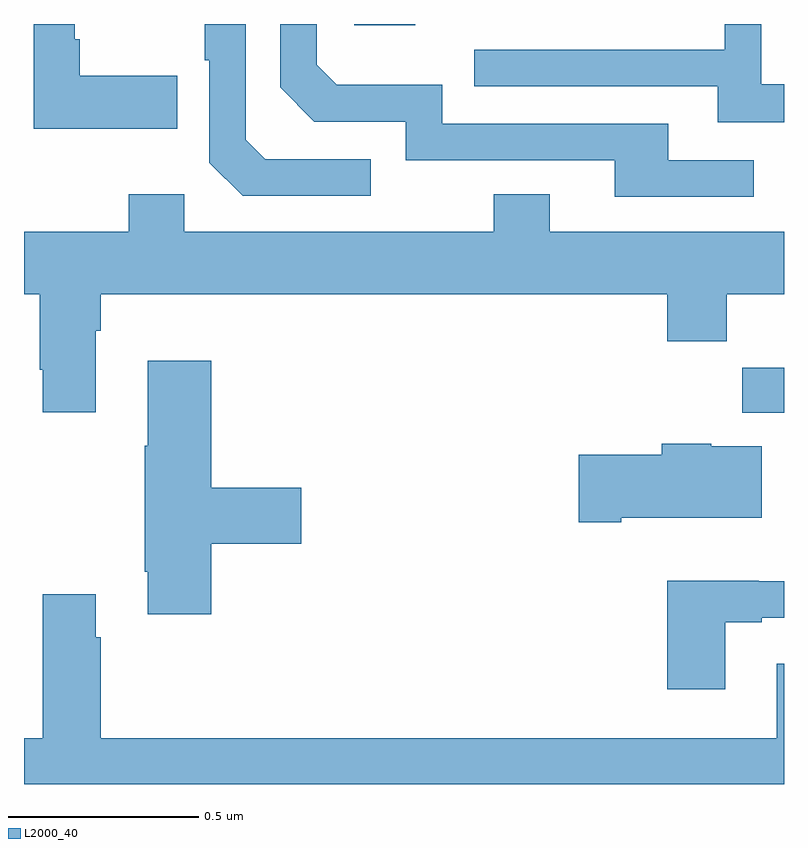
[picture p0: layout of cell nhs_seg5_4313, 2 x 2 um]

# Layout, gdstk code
import gdstk
lib = gdstk.Library(unit=1e-6, precision=1e-09)
def R(c, l, rs):  # rectangles x0, y0, x1, y1
    for r in rs: c.add(gdstk.rectangle(r[:2], r[2:], *l))
def P(c, l, *ps):  # polygons
    for p in ps: c.add(gdstk.Polygon(p, *l))
L2000_40 = (2000, 40)

nhs_seg5_4313 = lib.new_cell('nhs_seg5_4313')
R(nhs_seg5_4313, L2000_40, [(170.89,861.776,171,861.895), (169.869,862.796,170.03,862.799)])
P(nhs_seg5_4313, L2000_40, [(170.92,862.44),(170.695,862.44),(170.695,862.536),(170.1,862.536),(170.1,862.639),(169.823,862.639),(169.77,862.692),(169.77,862.799),(169.674,862.799),(169.674,862.632),(169.764,862.542),(170.004,862.542),(170.004,862.44),(170.555,862.44),(170.555,862.344),(170.92,862.344)],
  [(169.912,862.443),(169.635,862.443),(169.584,862.494),(169.584,862.799),(169.476,862.799),(169.476,862.703),(169.488,862.703),(169.488,862.434),(169.575,862.347),(169.912,862.347)],
  [(169.403,862.663),(169.147,862.663),(169.147,862.759),(169.134,862.759),(169.134,862.799),(169.026,862.799),(169.026,862.523),(169.403,862.523)],
  [(171,862.641),(170.94,862.641),(170.94,862.799),(170.844,862.799),(170.844,862.731),(170.185,862.731),(170.185,862.635),(170.825,862.635),(170.825,862.541),(171,862.541)],
  [(169.189,861.992),(169.202,861.992),(169.202,862.088),(170.693,862.088),(170.693,861.964),(170.849,861.964),(170.849,862.088),(171,862.088),(171,862.252),(170.383,862.252),(170.383,862.351),(170.236,862.351),(170.236,862.252),(169.422,862.252),(169.422,862.351),(169.276,862.351),(169.276,862.252),(169,862.252),(169,862.088),(169.042,862.088),(169.042,861.889),(169.049,861.889),(169.049,861.777),(169.189,861.777)],
  [(169.493,861.431),(169.729,861.431),(169.729,861.578),(169.493,861.578),(169.493,861.913),(169.325,861.913),(169.325,861.689),(169.318,861.689),(169.318,861.358),(169.325,861.358),(169.325,861.246),(169.493,861.246)],
  [(170.572,861.5),(170.941,861.5),(170.941,861.688),(170.808,861.688),(170.808,861.694),(170.678,861.694),(170.678,861.666),(170.46,861.666),(170.46,861.488),(170.572,861.488)],
  [(170.845,861.225),(170.941,861.225),(170.941,861.237),(171,861.237),(171,861.333),(170.933,861.333),(170.933,861.334),(170.693,861.334),(170.693,861.048),(170.845,861.048)],
  [(171,861.115),(170.981,861.115),(170.981,860.92),(169.202,860.92),(169.202,861.185),(169.189,861.185),(169.189,861.298),(169.049,861.298),(169.049,860.92),(169,860.92),(169,860.799),(171,860.799)])

lib.write_gds('nhs_seg5_4313.gds')
